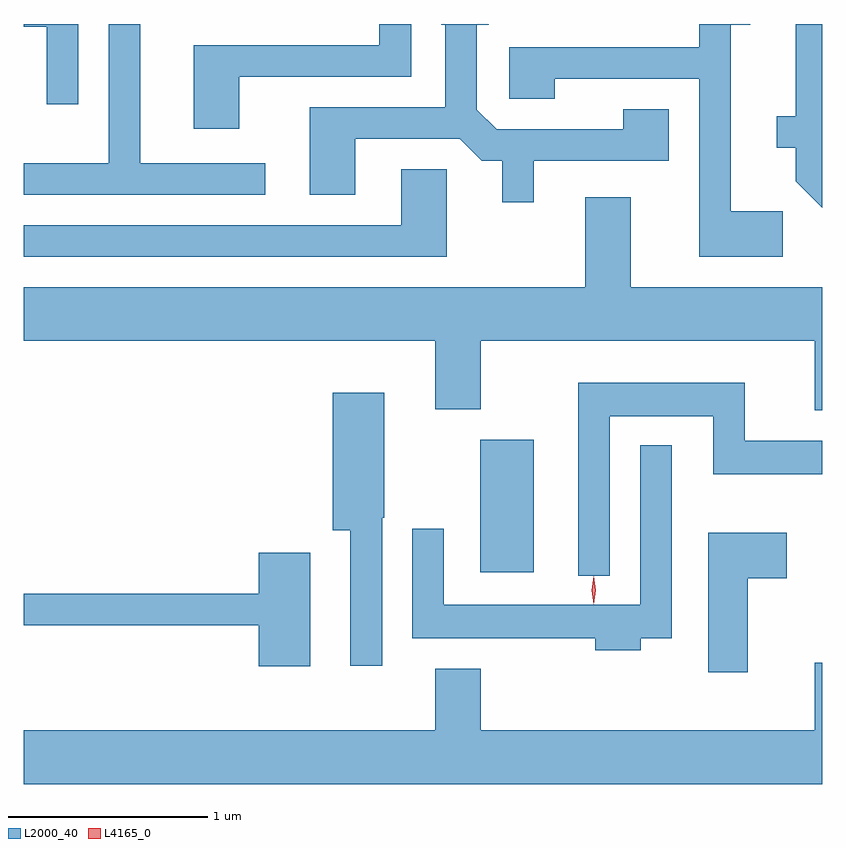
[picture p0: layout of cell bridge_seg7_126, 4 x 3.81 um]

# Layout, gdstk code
import gdstk
lib = gdstk.Library(unit=1e-6, precision=1e-09)
def R(c, l, rs):  # rectangles x0, y0, x1, y1
    for r in rs: c.add(gdstk.rectangle(r[:2], r[2:], *l))
def P(c, l, *ps):  # polygons
    for p in ps: c.add(gdstk.Polygon(p, *l))
L2000_40 = (2000, 40)
L4165_0 = (4165, 0)

bridge_seg7_126 = lib.new_cell('bridge_seg7_126')
R(bridge_seg7_126, L2000_40, [(1580.936,1797.516,1581.204,1798.179)])
P(bridge_seg7_126, L2000_40, [(1578.924,1800.261),(1578.649,1800.261),(1578.649,1800.246),(1578.766,1800.246),(1578.766,1799.858),(1578.924,1799.858)],
  [(1582.649,1800.261),(1582.516,1800.261),(1582.516,1799.799),(1582.421,1799.799),(1582.421,1799.641),(1582.516,1799.641),(1582.516,1799.474),(1582.649,1799.341)],
  [(1579.729,1799.996),(1580.589,1799.996),(1580.589,1800.261),(1580.431,1800.261),(1580.431,1800.154),(1579.501,1800.154),(1579.501,1799.736),(1579.729,1799.736)],
  [(1581.204,1799.576),(1581.879,1799.576),(1581.879,1799.834),(1581.651,1799.834),(1581.651,1799.734),(1581.017,1799.734),(1580.919,1799.832),(1580.919,1800.256),(1580.978,1800.256),(1580.978,1800.261),(1580.741,1800.261),(1580.741,1800.256),(1580.761,1800.256),(1580.761,1799.844),(1580.081,1799.844),(1580.081,1799.406),(1580.309,1799.406),(1580.309,1799.686),(1580.834,1799.686),(1580.944,1799.576),(1581.046,1799.576),(1581.046,1799.368),(1581.204,1799.368)],
  [(1579.858,1799.564),(1579.234,1799.564),(1579.234,1800.261),(1579.076,1800.261),(1579.076,1799.564),(1578.649,1799.564),(1578.649,1799.406),(1579.858,1799.406)],
  [(1582.449,1799.324),(1582.189,1799.324),(1582.189,1800.256),(1582.288,1800.256),(1582.288,1800.261),(1582.031,1800.261),(1582.031,1800.144),(1581.081,1800.144),(1581.081,1799.886),(1581.309,1799.886),(1581.309,1799.986),(1582.031,1799.986),(1582.031,1799.096),(1582.449,1799.096)],
  [(1580.769,1799.534),(1580.541,1799.534),(1580.541,1799.254),(1578.649,1799.254),(1578.649,1799.096),(1580.769,1799.096)],
  [(1582.649,1798.944),(1581.689,1798.944),(1581.689,1799.394),(1581.461,1799.394),(1581.461,1798.944),(1578.649,1798.944),(1578.649,1798.676),(1580.711,1798.676),(1580.711,1798.331),(1580.939,1798.331),(1580.939,1798.676),(1582.611,1798.676),(1582.611,1798.326),(1582.649,1798.326)],
  [(1581.584,1798.296),(1582.101,1798.296),(1582.101,1798.006),(1582.649,1798.006),(1582.649,1798.174),(1582.259,1798.174),(1582.259,1798.464),(1581.426,1798.464),(1581.426,1797.498),(1581.584,1797.498)],
  [(1580.444,1797.79),(1580.454,1797.79),(1580.454,1798.414),(1580.196,1798.414),(1580.196,1797.726),(1580.286,1797.726),(1580.286,1797.048),(1580.444,1797.048)],
  [(1581.739,1797.186),(1581.894,1797.186),(1581.894,1798.153),(1581.736,1798.153),(1581.736,1797.354),(1580.754,1797.354),(1580.754,1797.733),(1580.596,1797.733),(1580.596,1797.186),(1581.511,1797.186),(1581.511,1797.126),(1581.739,1797.126)],
  [(1582.274,1797.486),(1582.469,1797.486),(1582.469,1797.714),(1582.076,1797.714),(1582.076,1797.016),(1582.274,1797.016)],
  [(1580.084,1797.614),(1579.826,1797.614),(1579.826,1797.409),(1578.649,1797.409),(1578.649,1797.251),(1579.826,1797.251),(1579.826,1797.046),(1580.084,1797.046)],
  [(1582.649,1797.064),(1582.611,1797.064),(1582.611,1796.724),(1580.939,1796.724),(1580.939,1797.034),(1580.711,1797.034),(1580.711,1796.724),(1578.649,1796.724),(1578.649,1796.456),(1582.649,1796.456)])
P(bridge_seg7_126, L4165_0, [(1581.503,1797.359),(1581.503,1797.36),(1581.493,1797.426),(1581.503,1797.492),(1581.503,1797.493),(1581.504,1797.492),(1581.513,1797.426),(1581.504,1797.36)],
  [(1581.504,1797.357),(1581.495,1797.426),(1581.504,1797.496),(1581.505,1797.496),(1581.505,1797.496),(1581.515,1797.426),(1581.505,1797.357),(1581.505,1797.357)])

lib.write_gds('bridge_seg7_126.gds')
